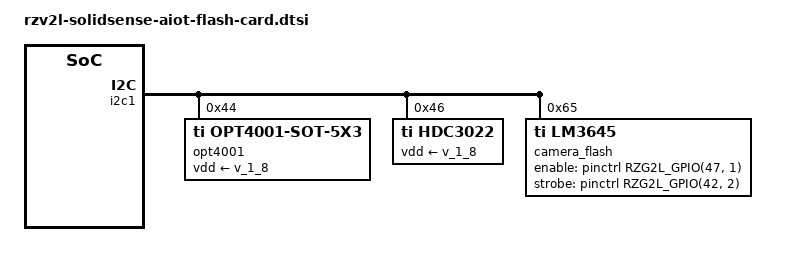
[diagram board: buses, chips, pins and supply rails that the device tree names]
// SPDX-License-Identifier: (GPL-2.0-only OR BSD-2-Clause)
/*
 * SolidSense AIOT Flash Card (J6) devices on the carrier I2C (&i2c1),
 * RZ/V2L / RZ/G2L variant.
 *
 * Shared fragment, included by the flash-card overlays. The including
 * overlay must provide /dts-v1/; /plugin/; and the dt-bindings headers
 * (gpio, leds/common, rzg2l-pinctrl).
 *
 *   - LM3645YCGR  Quad LED flash driver (IR illuminator) @ 0x65
 *   - OPT4001DTSR Ambient Light Sensor                   @ 0x44
 *   - HDC3022DEJR Humidity/Temperature                   @ 0x46
 *
 * Copyright (C) 2026 SolidRun Ltd.
 */

&i2c1 {
	#address-cells = <1>;
	#size-cells = <0>;

	/* OPT4001 Ambient Light Sensor */
	opt4001: light-sensor@44 {
		status = "okay";
		compatible = "ti,opt4001-sot-5x3";
		reg = <0x44>;
		vdd-supply = <&v_1_8>;
	};

	/* HDC3022 Humidity and Temperature Sensor */
	hdc3022: humidity-sensor@46 {
		status = "okay";
		compatible = "ti,hdc3022";
		reg = <0x46>;
		vdd-supply = <&v_1_8>;
	};

	/*
	 * LM3645 quad LED flash driver, used as an IR illuminator (4x
	 * SFH4722 on D1..D4). Driven over I2C with hardware flash gating via
	 * STR1. The hardware torch line (TOR/TX) maps to an RZ/V2L RIIC0
	 * dedicated pin that is not confirmed usable as GPIO, so torch-gpios
	 * is intentionally omitted (software/I2C torch control still works).
	 *
	 *   HWEN   -> FLASH_EN   -> P47_1
	 *   STR1   -> FLASH_TRIG1 -> P42_2
	 */
	camera_flash: led-controller@65 {
		status = "okay";
		compatible = "ti,lm3645";
		reg = <0x65>;

		/* HWEN: driver brings the chip out of hardware shutdown */
		enable-gpios = <&pinctrl RZG2L_GPIO(47, 1) GPIO_ACTIVE_HIGH>;
		/* STR1: hardware flash strobe (FLASH_TRIG1) */
		strobe-gpios = <&pinctrl RZG2L_GPIO(42, 2) GPIO_ACTIVE_HIGH>;

		led {
			function = LED_FUNCTION_FLASH;
			color = <LED_COLOR_ID_IR>;
			led-max-microamp = <360000>;      /* torch, chip max */
			flash-max-microamp = <1500000>;   /* per output */
			flash-max-timeout-us = <400000>;  /* chip max */
		};
	};
};
